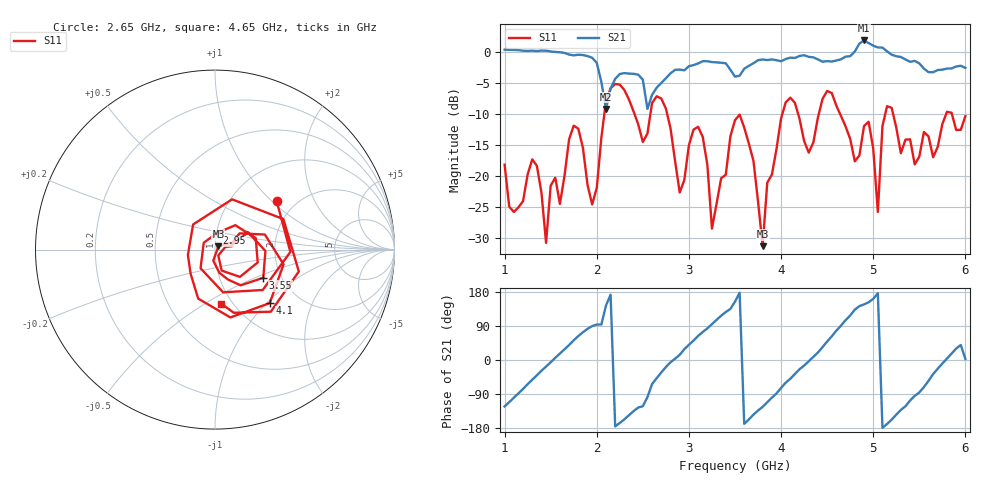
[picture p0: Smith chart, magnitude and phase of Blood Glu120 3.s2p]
! NanoVNA-App
! Date: 2024-03-21 14:40:56
! Start: 1GHz Stop: 6GHz Points: 101
! S-Parameter data: F S11 S21 S12 S22
# Hz S RI R 50
!	Frequency	S11_Real	S11_Imag	S21_Real	S21_Imag	S12_Real	S12_Imag	S22_Real	S22_Imag
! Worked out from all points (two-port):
!   101 points, 1 GHz to 6 GHz, reference 50 ohm
!   highest |S21| = 1.82 dB at 4.9 GHz (marker M1); lowest = -9.2 dB at 2.1 GHz (marker M2)
!   |S21| within 3 dB of the highest: start of sweep to 1.963 GHz; 4.654 GHz to 5.342 GHz (687.8 MHz wide, 13.8 % of centre)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
!   lowest |S11| = -31.3 dB at 3.8 GHz (marker M3), VSWR 1.06, Z = 51.9 + j2 ohm
!   |S11| at or under -10 dB: start of sweep to 2.083 GHz; 2.763 GHz to 4.014 GHz (1.251 GHz wide, 36.9 % of centre); 5.215 GHz to 5.792 GHz (576.5 MHz wide, 10.5 % of centre)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
!   S12 and S22 are empty: the file has one direction only
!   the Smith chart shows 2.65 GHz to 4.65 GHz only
!   S11 on the Smith chart (normalised r, x): 2.65 GHz: 1.60, +1.08; 2.95 GHz: 1.00, +0.19; 3.55 GHz: 1.62, -0.56; 4.1 GHz: 1.43, -1.04; 4.65 GHz: 0.89, -0.59
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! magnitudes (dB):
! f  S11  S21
! 1 GHz  -18.2  0.3
! 1.35 GHz  -18.4  0.1
! 1.45 GHz  -30.8  0.2
! 1.85 GHz  -15.5  -0.5
! 1.95 GHz  -24.6  -1.0
! 2.1 GHz  -7.9  -9.2
! 2.65 GHz  -7.2  -5.8
! 2.7 GHz  -7.5  -5.0
! 2.95 GHz  -20.7  -3.0
! 3.1 GHz  -12.1  -1.9
! 3.25 GHz  -28.5  -1.7
! 3.5 GHz  -11.0  -4.0
! 3.55 GHz  -10.1  -3.9
! 3.8 GHz  -31.3  -1.2
! 4.1 GHz  -7.4  -1.0
! 4.35 GHz  -14.6  -0.9
! 4.65 GHz  -10.3  -1.2
! 4.9 GHz  -12.0  1.8
! 5.05 GHz  -25.8  0.7
! 5.2 GHz  -9.0  -0.5
! 5.45 GHz  -18.1  -1.5
! 6 GHz  -10.4  -2.6
